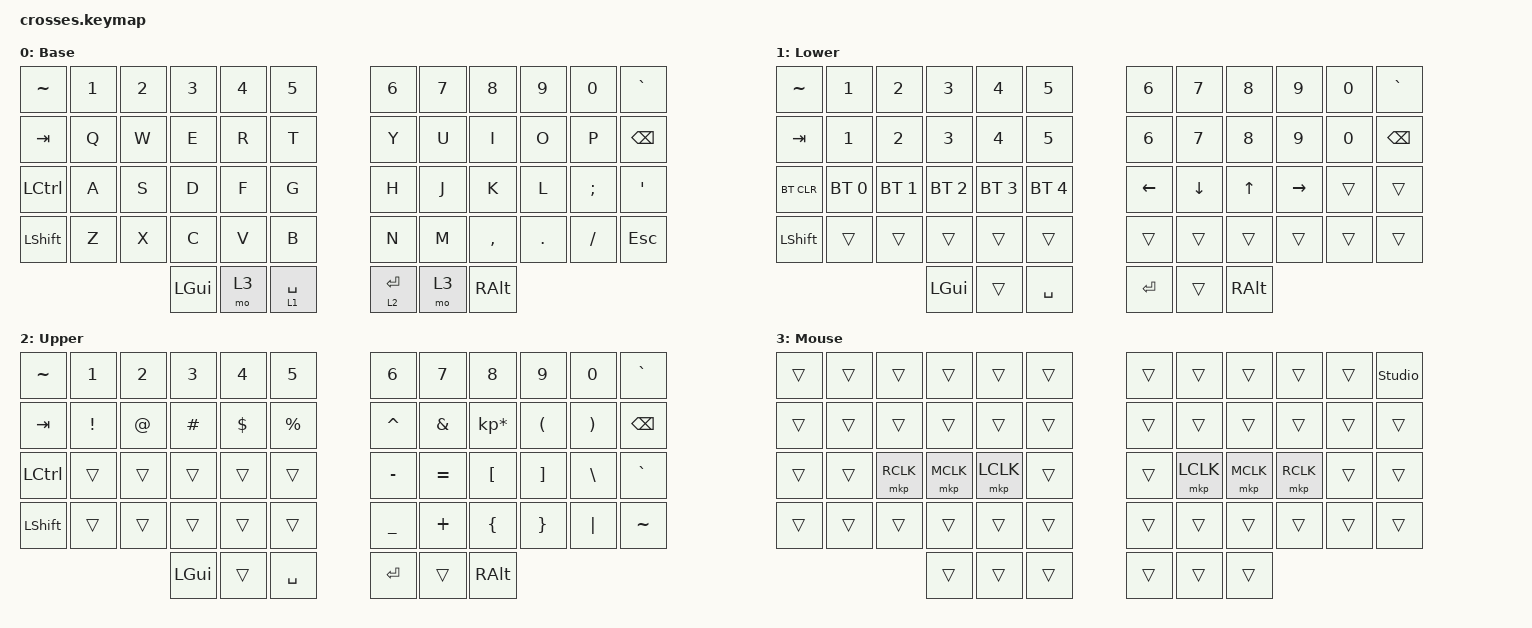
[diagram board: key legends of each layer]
#include <behaviors.dtsi>
#include <dt-bindings/zmk/bt.h>
#include <dt-bindings/zmk/keys.h>
#include <dt-bindings/zmk/pointing.h>

/ {
    chosen { zmk,physical-layout = &gggw_crosses_54_layout; };

    behaviors {
        lt: layer_tap {
            tapping-term-ms = <300>;
        };
    };

    keymap {
        compatible = "zmk,keymap";
        default_layer {
            display-name = "Base";
            bindings = <
                &kp TILDE   &kp N1  &kp N2      &kp N3 &kp N4   &kp N5  &kp N6      &kp N7  &kp N8      &kp N9  &kp N0      &kp GRAVE
                &kp TAB     &kp Q   &kp W       &kp E  &kp R    &kp T   &kp Y       &kp U   &kp I       &kp O   &kp P       &kp BSPC
                &kp LCTRL   &kp A   &kp S       &kp D  &kp F    &kp G   &kp H       &kp J   &kp K       &kp L   &kp SEMI    &kp SQT
                &kp LSHFT   &kp Z   &kp X       &kp C  &kp V    &kp B   &kp N       &kp M   &kp COMMA   &kp DOT &kp FSLH    &kp ESC
                &kp LGUI    &mo 3   &lt 1 SPACE                         &lt 2 RET   &mo 3   &kp RALT
            >;
        };

        lower_layer {
            display-name = "Lower";
            bindings = <
                &kp TILDE   &kp N1          &kp N2          &kp N3          &kp N4          &kp N5          &kp N6          &kp N7      &kp N8     &kp N9       &kp N0   &kp GRAVE
                &kp TAB     &kp N1          &kp N2          &kp N3          &kp N4          &kp N5          &kp N6          &kp N7      &kp N8     &kp N9       &kp N0   &kp BSPC
                &bt BT_CLR  &bt BT_SEL 0    &bt BT_SEL 1    &bt BT_SEL 2    &bt BT_SEL 3    &bt BT_SEL 4    &kp LEFT        &kp DOWN    &kp UP     &kp RIGHT    &trans   &trans
                &kp LSHFT   &trans          &trans          &trans          &trans          &trans          &trans          &trans      &trans     &trans       &trans   &trans
                &kp LGUI    &trans          &kp SPACE                                                       &kp RET         &trans      &kp RALT
            >;
        };

        raise_layer {
            display-name = "Upper";
            bindings = <
                &kp TILDE   &kp N1      &kp N2      &kp N3      &kp N4      &kp N5      &kp N6      &kp N7      &kp N8          &kp N9      &kp N0      &kp GRAVE
                &kp TAB     &kp EXCL    &kp AT      &kp HASH    &kp DLLR    &kp PRCNT   &kp CARET   &kp AMPS    &kp KP_MULTIPLY &kp LPAR    &kp RPAR    &kp BSPC
                &kp LCTRL   &trans      &trans      &trans      &trans      &trans      &kp MINUS   &kp EQUAL   &kp LBKT        &kp RBKT    &kp BSLH    &kp GRAVE
                &kp LSHFT   &trans      &trans      &trans      &trans      &trans      &kp UNDER   &kp PLUS    &kp LBRC        &kp RBRC    &kp PIPE    &kp TILDE
                &kp LGUI    &trans      &kp SPACE                                       &kp RET     &trans      &kp RALT
            >;
        };

        mouse_layer {
            display-name = "Mouse";
            bindings = <
                &trans      &trans      &trans     &trans     &trans     &trans     &trans     &trans     &trans     &trans     &trans      &studio_unlock
                &trans      &trans      &trans     &trans     &trans     &trans     &trans     &trans     &trans     &trans     &trans      &trans
                &trans      &trans      &mkp RCLK  &mkp MCLK  &mkp LCLK  &trans     &trans     &mkp LCLK  &mkp MCLK  &mkp RCLK  &trans      &trans
                &trans      &trans      &trans     &trans     &trans     &trans     &trans     &trans     &trans     &trans     &trans      &trans
                &trans      &trans      &trans                                      &trans     &trans     &trans
            >;
        };
    };
};
